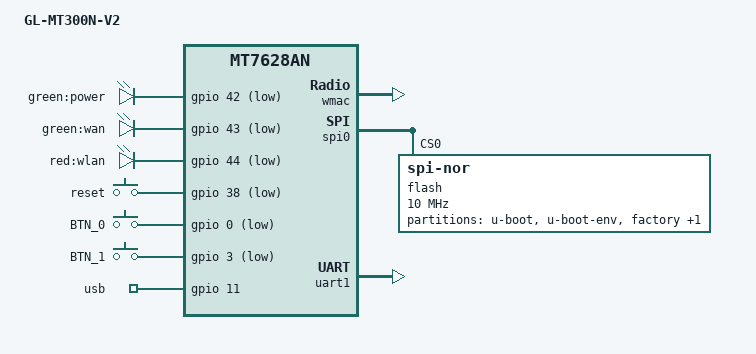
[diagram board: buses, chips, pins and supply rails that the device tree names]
#include "mt7628an.dtsi"

#include <dt-bindings/gpio/gpio.h>
#include <dt-bindings/input/input.h>

/{
	compatible = "glinet,gl-mt300n-v2", "mediatek,mt7628an-soc";
	model = "GL-MT300N-V2";

	aliases {
		led-boot = &led_power;
		led-failsafe = &led_power;
		led-running = &led_power;
		led-upgrade = &led_power;
		label-mac-device = &ethernet;
	};

	chosen {
		bootargs = "console=ttyS0,115200";
	};

	leds {
		compatible = "gpio-leds";

		led_power: power {
			label = "green:power";
			default-state = "on";
			gpios = <&gpio 42 GPIO_ACTIVE_LOW>;
		};

		wan {
			label = "green:wan";
			gpios = <&gpio 43 GPIO_ACTIVE_LOW>;
		};

		wlan {
			label = "red:wlan";
			gpios = <&gpio 44 GPIO_ACTIVE_LOW>;
		};
	};

	keys {
		compatible = "gpio-keys";

		reset {
			label = "reset";
			gpios = <&gpio 38 GPIO_ACTIVE_LOW>;
			linux,code = <KEY_RESTART>;
		};

		BTN_0 {
			label = "BTN_0";
			gpios = <&gpio 0 GPIO_ACTIVE_LOW>;
			linux,code = <BTN_0>;
		};

		BTN_1 {
			label = "BTN_1";
			gpios = <&gpio 3 GPIO_ACTIVE_LOW>;
			linux,code = <BTN_1>;
		};
	};

	gpio_export {
		compatible = "gpio-export";
		#size-cells = <0>;

		usb {
			gpio-export,name = "usb";
			gpio-export,output = <1>;
			gpios = <&gpio 11 GPIO_ACTIVE_HIGH>;
		};
	};
};

&state_default {
	gpio {
		groups = "wdt", "gpio", "wled_an", "p0led_an", "p1led_an", "i2s", "i2c";
		function = "gpio";
	};
};

&ethernet {
	nvmem-cells = <&macaddr_factory_4>;
	nvmem-cell-names = "mac-address";
};

&wmac {
	status = "okay";

	mediatek,mtd-eeprom = <&factory 0x0>;
};

&spi0 {
	status = "okay";

	flash@0 {
		compatible = "jedec,spi-nor";
		reg = <0>;
		spi-max-frequency = <10000000>;

		partitions {
			compatible = "fixed-partitions";
			#address-cells = <1>;
			#size-cells = <1>;

			partition@0 {
				label = "u-boot";
				reg = <0x0 0x30000>;
				read-only;
			};

			partition@30000 {
				label = "u-boot-env";
				reg = <0x30000 0x10000>;
				read-only;
			};

			factory: partition@40000 {
				label = "factory";
				reg = <0x40000 0x10000>;
				read-only;
			};

			partition@50000 {
				compatible = "denx,uimage";
				label = "firmware";
				reg = <0x50000 0xfb0000>;
			};
		};
	};
};

&uart1 {
	status = "okay";
};

&factory {
	compatible = "nvmem-cells";
	#address-cells = <1>;
	#size-cells = <1>;

	macaddr_factory_4: macaddr@4 {
		reg = <0x4 0x6>;
	};
};
